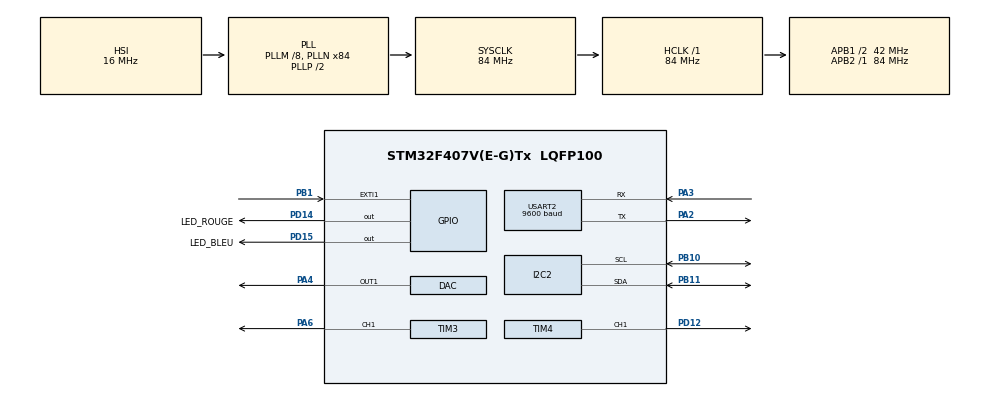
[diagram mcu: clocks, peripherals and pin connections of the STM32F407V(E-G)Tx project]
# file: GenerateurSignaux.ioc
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DAC.DAC_Trigger=DAC_TRIGGER_T2_TRGO
DAC.WaveGeneration=DISABLE
Dma.DAC1.0.Direction=DMA_MEMORY_TO_PERIPH
Dma.DAC1.0.FIFOMode=DMA_FIFOMODE_DISABLE
Dma.DAC1.0.Instance=DMA1_Stream5
Dma.DAC1.0.MemDataAlignment=DMA_MDATAALIGN_WORD
Dma.DAC1.0.MemInc=DMA_MINC_ENABLE
Dma.DAC1.0.Mode=DMA_CIRCULAR
Dma.DAC1.0.PeriphDataAlignment=DMA_PDATAALIGN_WORD
Dma.DAC1.0.PeriphInc=DMA_PINC_DISABLE
Dma.DAC1.0.Priority=DMA_PRIORITY_HIGH
Dma.Request0=DAC1
Mcu.Family=STM32F4
Mcu.Name=STM32F407V(E-G)Tx
Mcu.Package=LQFP100
NVIC.DMA1_Stream5_IRQn=true\:0\:0\:false\:false\:true\:false\:true\:true
NVIC.EXTI1_IRQn=true\:0\:0\:false\:false\:true\:true\:true\:true
NVIC.PriorityGroup=NVIC_PRIORITYGROUP_4
NVIC.RCC_IRQn=true\:0\:0\:false\:false\:true\:true\:false\:true
NVIC.TIM2_IRQn=true\:0\:0\:false\:false\:true\:true\:true\:true
NVIC.TIM3_IRQn=true\:0\:0\:false\:false\:true\:true\:true\:true
NVIC.TIM4_IRQn=true\:0\:0\:false\:false\:true\:true\:true\:true
NVIC.TIM6_DAC_IRQn=true\:0\:0\:false\:false\:true\:true\:true\:true
NVIC.USART2_IRQn=true\:0\:0\:false\:false\:true\:true\:true\:true
PA2.Mode=Asynchronous
PA2.Signal=USART2_TX
PA3.Mode=Asynchronous
PA3.Signal=USART2_RX
PA4.Signal=COMP_DAC1_group
PA6.Signal=S_TIM3_CH1
PB1.GPIO_ModeDefaultEXTI=GPIO_MODE_IT_RISING_FALLING
PB1.Signal=GPXTI1
PB10.Mode=I2C
PB10.Signal=I2C2_SCL
PB11.Mode=I2C
PB11.Signal=I2C2_SDA
PD12.Signal=S_TIM4_CH1
PD14.GPIO_Label=LED_ROUGE
PD14.Signal=GPIO_Output
PD15.GPIO_Label=LED_BLEU
PD15.Signal=GPIO_Output
PH0-OSC_IN.Mode=HSE-External-Oscillator
PH0-OSC_IN.Signal=RCC_OSC_IN
PH1-OSC_OUT.Mode=HSE-External-Oscillator
PH1-OSC_OUT.Signal=RCC_OSC_OUT
ProjectManager.HeapSize=0x200
ProjectManager.StackSize=0x400
ProjectManager.TargetToolchain=STM32CubeIDE
RCC.48MHZClocksFreq_Value=42000000
RCC.AHBFreq_Value=84000000
RCC.APB1CLKDivider=RCC_HCLK_DIV2
RCC.APB1Freq_Value=42000000
RCC.APB1TimFreq_Value=84000000
RCC.APB2Freq_Value=84000000
RCC.APB2TimFreq_Value=84000000
RCC.CortexFreq_Value=84000000
RCC.HCLKFreq_Value=84000000
RCC.HSE_VALUE=25000000
RCC.HSI_VALUE=16000000
RCC.LSE_VALUE=32768
RCC.PLLM=8
RCC.PLLN=84
RCC.SYSCLKFreq_VALUE=84000000
RCC.SYSCLKSource=RCC_SYSCLKSOURCE_PLLCLK
RCC.VCOOutputFreq_Value=168000000
SH.COMP_DAC1_group.0=DAC_OUT1,DAC_OUT1
SH.S_TIM3_CH1.0=TIM3_CH1,PWM Generation1 CH1
SH.S_TIM4_CH1.0=TIM4_CH1,PWM Generation1 CH1
TIM2.Period=1
TIM2.Prescaler=0
TIM2.TIM_MasterOutputTrigger=TIM_TRGO_UPDATE
TIM3.Channel-PWM\ Generation1\ CH1=TIM_CHANNEL_1
TIM3.Period=4000-1
TIM4.Channel-PWM\ Generation1\ CH1=TIM_CHANNEL_1
USART2.BaudRate=9600
USART2.VirtualMode=VM_ASYNC
VP_TIM2_VS_ClockSourceINT.Mode=Internal
VP_TIM3_VS_ClockSourceINT.Mode=Internal
VP_TIM4_VS_ClockSourceINT.Mode=Internal
board=custom

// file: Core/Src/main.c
/* USER CODE BEGIN Header */
/**
  ******************************************************************************
  * @file           : main.c
  * @brief          : Main program body
  ******************************************************************************
  * @attention
  *
  * Copyright (c) 2023 STMicroelectronics.
  * All rights reserved.
  *
  * This software is licensed under terms that can be found in the LICENSE file
  * in the root directory of this software component.
  * If no LICENSE file comes with this software, it is provided AS-IS.
  *
  ******************************************************************************
  */
/* USER CODE END Header */
#include "main.h"

/* USER CODE BEGIN Includes */
#include <time.h>
#include <stdlib.h>
#include "../Inc/init.h"
#include "../Inc/waves.h"
#include "../Inc/comm.h"
#include "stm32f4xx_it.h"
/* USER CODE END Includes */

DAC_HandleTypeDef hdac;
DMA_HandleTypeDef hdma_dac1;

I2C_HandleTypeDef hi2c2;

TIM_HandleTypeDef htim2;
TIM_HandleTypeDef htim3;
TIM_HandleTypeDef htim4;

UART_HandleTypeDef huart2;

/* USER CODE BEGIN PV */
extern uint8_t Rx_data[];
extern unsigned int pitch; 		// pitch (Hz)
extern uint8_t stim_freq; 		// stim frequency (Hz)
extern uint8_t duty_cycle;		// stimulation duty cycle
extern uint8_t randomOn;		// random duty cycle
extern uint8_t sound_intensity;	// sound intensity
extern uint8_t light_intensity; // light intensity

//Wave form arrays
extern unsigned int sine_val[N_SAMPLES];
extern unsigned int saw_val[N_SAMPLES];
extern unsigned int tri_val[N_SAMPLES];
extern unsigned int square_val[N_SAMPLES];

extern uint8_t wave_type;

extern uint8_t i2cFlag;

int r;

/* USER CODE END PV */

void SystemClock_Config(void);
static void MX_GPIO_Init(void);
static void MX_DMA_Init(void);
static void MX_DAC_Init(void);
static void MX_USART2_UART_Init(void);
static void MX_TIM2_Init(void);
static void MX_TIM3_Init(void);
static void MX_TIM4_Init(void);
static void MX_I2C2_Init(void);

/* USER CODE BEGIN 0 */

//Callback for UART
void HAL_UART_RxCpltCallback(UART_HandleTypeDef *huart)
{
	HAL_UART_Receive_IT (&huart2, Rx_data, PACKET_SIZE);
}

//Callback for I2C
void HAL_I2C_MasterTxCpltCallback (I2C_HandleTypeDef *hi2c){
	uint8_t tmp[] = {sound_intensity};
	HAL_I2C_Master_Transmit(&hi2c2, 0b10010010, tmp, 1, 100);
}

//Callback for external interruption
void HAL_GPIO_EXTI_Callback(uint16_t GPIO_Pin)
{
	// Turn off timer for DAC
	HAL_TIM_Base_Stop(&htim2);

	// Choose wave form for sound
    if(HAL_GPIO_ReadPin(GPIOB, GPIO_PIN_1)){
        switch (wave_type){
            case 0:
                HAL_DAC_Start_DMA(&hdac, DAC1_CHANNEL_1, (uint32_t*)sine_val, N_SAMPLES, DAC_ALIGN_12B_R);
                break;
            case 1:
                HAL_DAC_Start_DMA(&hdac, DAC1_CHANNEL_1, (uint32_t*)tri_val, N_SAMPLES, DAC_ALIGN_12B_R);
                break;
            case 2:
                HAL_DAC_Start_DMA(&hdac, DAC1_CHANNEL_1, (uint32_t*)square_val, N_SAMPLES, DAC_ALIGN_12B_R);
                break;
            case 3:
                HAL_DAC_Start_DMA(&hdac, DAC1_CHANNEL_1, (uint32_t*)saw_val, N_SAMPLES, DAC_ALIGN_12B_R);
                break;
            default:
                //Nothing
                break;
        }
        // Random duty cycle for stimulation
        if(randomOn){
			r = ((rand() % (2 * stim_freq + 2))/0.3397);
			//htim3.Instance->CCR1 = (TIMER_PRESCALER*128)/INT_MAX;
			//Set stimulation frequency
			if (r < 2){
				r = ((rand() % (2 * stim_freq + 2))/0.3397);
			}
			if (r)
				htim3.Instance->PSC = 21000/r;
        }

        // Change PWM duty cycle for light intensity
        htim4.Instance->CCR1 = (TIMER_PRESCALER*light_intensity)/INT_MAX;

        //Activate timer for DAC
        HAL_TIM_Base_Start(&htim2);
    }
    else {
    	// Turn off DAC for sound waves
        HAL_DAC_Stop_DMA(&hdac, DAC_CHANNEL_1);

        // Set PWM to 0 to turn off light
        htim4.Instance->CCR1 = 0;
    }
}
/* USER CODE END 0 */

int main(void)
{

  /* MCU Configuration--------------------------------------------------------*/

  /* Reset of all peripherals, Initializes the Flash interface and the Systick. */
  HAL_Init();

  /* Configure the system clock */
  SystemClock_Config();

  /* Initialize all configured peripherals */
  MX_GPIO_Init();
  MX_DMA_Init();
  MX_DAC_Init();
  MX_USART2_UART_Init();
  MX_TIM2_Init();
  MX_TIM3_Init();
  MX_TIM4_Init();
  MX_I2C2_Init();
  /* USER CODE BEGIN 2 */

  //Activate timer for signal generator (pitch)
  HAL_TIM_Base_Start(&htim2);

  //Activate PWM for duty cycle of light stimulation
  HAL_TIM_PWM_Start(&htim3, TIM_CHANNEL_1);

  //Activate PWM for light intensity
  HAL_TIM_PWM_Start(&htim4, TIM_CHANNEL_1);

  //Calculate waveforms
  init_waves(INT_MAX); //255 is max amplitude

  //Activate UART RX
  HAL_UART_Receive_IT (&huart2, Rx_data, PACKET_SIZE);

  //Initialize random
  srand(time(NULL));

  /* USER CODE END 2 */

  /* Infinite loop */
  while (1)
  {

    /* USER CODE BEGIN 3 */
    HAL_Delay(10);
    //HAL_GPIO_TogglePin(GPIOD, GPIO_PIN_15); //Control LED
    if (i2cFlag){
    	//Set intensity for MAX9744 with I2C
    	uint8_t tmp[] = {sound_intensity};
	    HAL_I2C_Master_Transmit(&hi2c2, 0x96, tmp, 1, 10);
	    i2cFlag = 0;
    }
  }
  /* USER CODE END 3 */
}

void SystemClock_Config(void)
{
  RCC_OscInitTypeDef RCC_OscInitStruct = {0};
  RCC_ClkInitTypeDef RCC_ClkInitStruct = {0};

  /** Configure the main internal regulator output voltage
  */
  __HAL_RCC_PWR_CLK_ENABLE();
  __HAL_PWR_VOLTAGESCALING_CONFIG(PWR_REGULATOR_VOLTAGE_SCALE1);

  /** Initializes the RCC Oscillators according to the specified parameters
  * in the RCC_OscInitTypeDef structure.
  */
  RCC_OscInitStruct.OscillatorType = RCC_OSCILLATORTYPE_HSI;
  RCC_OscInitStruct.HSIState = RCC_HSI_ON;
  RCC_OscInitStruct.HSICalibrationValue = RCC_HSICALIBRATION_DEFAULT;
  RCC_OscInitStruct.PLL.PLLState = RCC_PLL_ON;
  RCC_OscInitStruct.PLL.PLLSource = RCC_PLLSOURCE_HSI;
  RCC_OscInitStruct.PLL.PLLM = 8;
  RCC_OscInitStruct.PLL.PLLN = 84;
  RCC_OscInitStruct.PLL.PLLP = RCC_PLLP_DIV2;
  RCC_OscInitStruct.PLL.PLLQ = 4;
  if (HAL_RCC_OscConfig(&RCC_OscInitStruct) != HAL_OK)
  {
    Error_Handler();
  }

  /** Initializes the CPU, AHB and APB buses clocks
  */
  RCC_ClkInitStruct.ClockType = RCC_CLOCKTYPE_HCLK|RCC_CLOCKTYPE_SYSCLK
                              |RCC_CLOCKTYPE_PCLK1|RCC_CLOCKTYPE_PCLK2;
  RCC_ClkInitStruct.SYSCLKSource = RCC_SYSCLKSOURCE_PLLCLK;
  RCC_ClkInitStruct.AHBCLKDivider = RCC_SYSCLK_DIV1;
  RCC_ClkInitStruct.APB1CLKDivider = RCC_HCLK_DIV2;
  RCC_ClkInitStruct.APB2CLKDivider = RCC_HCLK_DIV1;

  if (HAL_RCC_ClockConfig(&RCC_ClkInitStruct, FLASH_LATENCY_2) != HAL_OK)
  {
    Error_Handler();
  }
}

static void MX_DAC_Init(void)
{

  DAC_ChannelConfTypeDef sConfig = {0};

  /** DAC Initialization
  */
  hdac.Instance = DAC;
  if (HAL_DAC_Init(&hdac) != HAL_OK)
  {
    Error_Handler();
  }

  /** DAC channel OUT1 config
  */
  sConfig.DAC_Trigger = DAC_TRIGGER_T2_TRGO;
  sConfig.DAC_OutputBuffer = DAC_OUTPUTBUFFER_ENABLE;
  if (HAL_DAC_ConfigChannel(&hdac, &sConfig, DAC_CHANNEL_1) != HAL_OK)
  {
    Error_Handler();
  }

}

static void MX_I2C2_Init(void)
{

  hi2c2.Instance = I2C2;
  hi2c2.Init.ClockSpeed = 100000;
  hi2c2.Init.DutyCycle = I2C_DUTYCYCLE_2;
  hi2c2.Init.OwnAddress1 = 0;
  hi2c2.Init.AddressingMode = I2C_ADDRESSINGMODE_7BIT;
  hi2c2.Init.DualAddressMode = I2C_DUALADDRESS_DISABLE;
  hi2c2.Init.OwnAddress2 = 0;
  hi2c2.Init.GeneralCallMode = I2C_GENERALCALL_DISABLE;
  hi2c2.Init.NoStretchMode = I2C_NOSTRETCH_DISABLE;
  if (HAL_I2C_Init(&hi2c2) != HAL_OK)
  {
    Error_Handler();
  }

}

static void MX_TIM2_Init(void)
{

  TIM_ClockConfigTypeDef sClockSourceConfig = {0};
  TIM_MasterConfigTypeDef sMasterConfig = {0};

  htim2.Instance = TIM2;
  htim2.Init.Prescaler = (42000000/N_SAMPLES) / pitch;
  htim2.Init.CounterMode = TIM_COUNTERMODE_UP;
  htim2.Init.Period = 1;
  htim2.Init.ClockDivision = TIM_CLOCKDIVISION_DIV1;
  htim2.Init.AutoReloadPreload = TIM_AUTORELOAD_PRELOAD_DISABLE;
  if (HAL_TIM_Base_Init(&htim2) != HAL_OK)
  {
    Error_Handler();
  }
  sClockSourceConfig.ClockSource = TIM_CLOCKSOURCE_INTERNAL;
  if (HAL_TIM_ConfigClockSource(&htim2, &sClockSourceConfig) != HAL_OK)
  {
    Error_Handler();
  }
  sMasterConfig.MasterOutputTrigger = TIM_TRGO_UPDATE;
  sMasterConfig.MasterSlaveMode = TIM_MASTERSLAVEMODE_DISABLE;
  if (HAL_TIMEx_MasterConfigSynchronization(&htim2, &sMasterConfig) != HAL_OK)
  {
    Error_Handler();
  }

}

static void MX_TIM3_Init(void)
{

  TIM_ClockConfigTypeDef sClockSourceConfig = {0};
  TIM_MasterConfigTypeDef sMasterConfig = {0};
  TIM_OC_InitTypeDef sConfigOC = {0};

  htim3.Instance = TIM3;
  htim3.Init.Prescaler = 21000/stim_freq;
  htim3.Init.CounterMode = TIM_COUNTERMODE_UP;
  htim3.Init.Period = TIMER_PRESCALER-1;
  htim3.Init.ClockDivision = TIM_CLOCKDIVISION_DIV1;
  htim3.Init.AutoReloadPreload = TIM_AUTORELOAD_PRELOAD_DISABLE;
  if (HAL_TIM_Base_Init(&htim3) != HAL_OK)
  {
    Error_Handler();
  }
  sClockSourceConfig.ClockSource = TIM_CLOCKSOURCE_INTERNAL;
  if (HAL_TIM_ConfigClockSource(&htim3, &sClockSourceConfig) != HAL_OK)
  {
    Error_Handler();
  }
  if (HAL_TIM_PWM_Init(&htim3) != HAL_OK)
  {
    Error_Handler();
  }
  sMasterConfig.MasterOutputTrigger = TIM_TRGO_RESET;
  sMasterConfig.MasterSlaveMode = TIM_MASTERSLAVEMODE_DISABLE;
  if (HAL_TIMEx_MasterConfigSynchronization(&htim3, &sMasterConfig) != HAL_OK)
  {
    Error_Handler();
  }
  sConfigOC.OCMode = TIM_OCMODE_PWM1;
  sConfigOC.Pulse = (TIMER_PRESCALER*duty_cycle)/INT_MAX;
  sConfigOC.OCPolarity = TIM_OCPOLARITY_HIGH;
  sConfigOC.OCFastMode = TIM_OCFAST_DISABLE;
  if (HAL_TIM_PWM_ConfigChannel(&htim3, &sConfigOC, TIM_CHANNEL_1) != HAL_OK)
  {
    Error_Handler();
  }
  HAL_TIM_MspPostInit(&htim3);

}

static void MX_TIM4_Init(void)
{

  TIM_ClockConfigTypeDef sClockSourceConfig = {0};
  TIM_MasterConfigTypeDef sMasterConfig = {0};
  TIM_OC_InitTypeDef sConfigOC = {0};

  htim4.Instance = TIM4;
  htim4.Init.Prescaler = htim3.Init.Prescaler/LIGHT_INTENSITY_PWM_MULTIPLIER;
  htim4.Init.CounterMode = TIM_COUNTERMODE_UP;
  htim4.Init.Period = TIMER_PRESCALER-1;;
  htim4.Init.ClockDivision = TIM_CLOCKDIVISION_DIV1;
  htim4.Init.AutoReloadPreload = TIM_AUTORELOAD_PRELOAD_DISABLE;
  if (HAL_TIM_Base_Init(&htim4) != HAL_OK)
  {
    Error_Handler();
  }
  sClockSourceConfig.ClockSource = TIM_CLOCKSOURCE_INTERNAL;
  if (HAL_TIM_ConfigClockSource(&htim4, &sClockSourceConfig) != HAL_OK)
  {
    Error_Handler();
  }
  if (HAL_TIM_PWM_Init(&htim4) != HAL_OK)
  {
    Error_Handler();
  }
  sMasterConfig.MasterOutputTrigger = TIM_TRGO_RESET;
  sMasterConfig.MasterSlaveMode = TIM_MASTERSLAVEMODE_DISABLE;
  if (HAL_TIMEx_MasterConfigSynchronization(&htim4, &sMasterConfig) != HAL_OK)
  {
    Error_Handler();
  }
  sConfigOC.OCMode = TIM_OCMODE_PWM1;
  sConfigOC.Pulse = 0;
  sConfigOC.OCPolarity = TIM_OCPOLARITY_HIGH;
  sConfigOC.OCFastMode = TIM_OCFAST_DISABLE;
  if (HAL_TIM_PWM_ConfigChannel(&htim4, &sConfigOC, TIM_CHANNEL_1) != HAL_OK)
  {
    Error_Handler();
  }
  HAL_TIM_MspPostInit(&htim4);

}

static void MX_USART2_UART_Init(void)
{

  huart2.Instance = USART2;
  huart2.Init.BaudRate = 115200;
  huart2.Init.WordLength = UART_WORDLENGTH_8B;
  huart2.Init.StopBits = UART_STOPBITS_1;
  huart2.Init.Parity = UART_PARITY_NONE;
  huart2.Init.Mode = UART_MODE_TX_RX;
  huart2.Init.HwFlowCtl = UART_HWCONTROL_NONE;
  huart2.Init.OverSampling = UART_OVERSAMPLING_16;
  if (HAL_UART_Init(&huart2) != HAL_OK)
  {
    Error_Handler();
  }

}

static void MX_DMA_Init(void)
{

  /* DMA controller clock enable */
  __HAL_RCC_DMA1_CLK_ENABLE();

  /* DMA interrupt init */
  /* DMA1_Stream5_IRQn interrupt configuration */
  HAL_NVIC_SetPriority(DMA1_Stream5_IRQn, 0, 0);
  HAL_NVIC_EnableIRQ(DMA1_Stream5_IRQn);

}

static void MX_GPIO_Init(void)
{
  GPIO_InitTypeDef GPIO_InitStruct = {0};

  /* GPIO Ports Clock Enable */
  __HAL_RCC_GPIOH_CLK_ENABLE();
  __HAL_RCC_GPIOA_CLK_ENABLE();
  __HAL_RCC_GPIOB_CLK_ENABLE();
  __HAL_RCC_GPIOD_CLK_ENABLE();

  /*Configure GPIO pin Output Level */
  HAL_GPIO_WritePin(GPIOD, LED_ROUGE_Pin|LED_BLEU_Pin, GPIO_PIN_RESET);

  /*Configure GPIO pin : PB1 */
  GPIO_InitStruct.Pin = GPIO_PIN_1;
  GPIO_InitStruct.Mode = GPIO_MODE_IT_RISING_FALLING;
  GPIO_InitStruct.Pull = GPIO_NOPULL;
  HAL_GPIO_Init(GPIOB, &GPIO_InitStruct);

  /*Configure GPIO pins : LED_ROUGE_Pin LED_BLEU_Pin */
  GPIO_InitStruct.Pin = LED_ROUGE_Pin|LED_BLEU_Pin;
  GPIO_InitStruct.Mode = GPIO_MODE_OUTPUT_PP;
  GPIO_InitStruct.Pull = GPIO_NOPULL;
  GPIO_InitStruct.Speed = GPIO_SPEED_FREQ_LOW;
  HAL_GPIO_Init(GPIOD, &GPIO_InitStruct);

  /* EXTI interrupt init*/
  HAL_NVIC_SetPriority(EXTI1_IRQn, 1, 1);
  HAL_NVIC_EnableIRQ(EXTI1_IRQn);

}

void Error_Handler(void)
{
  __disable_irq();
  while (1)
  {
  }
}
